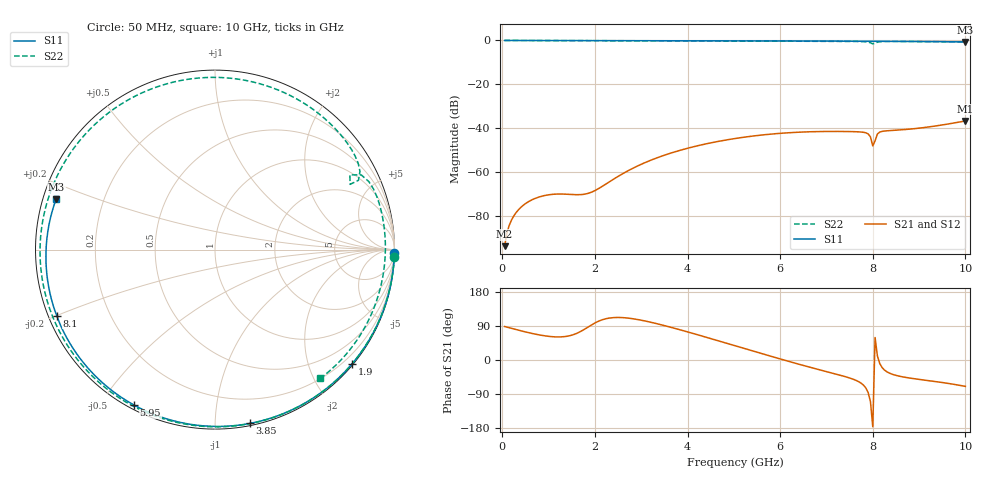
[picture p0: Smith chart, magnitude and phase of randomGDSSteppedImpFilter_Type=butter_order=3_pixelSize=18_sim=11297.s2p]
! freq	dB(S11)	phase(S11)	dB(S12)	phase(S12)
!  dB(S21)	phase(S21)	dB(S22)	phase(S22)
!S-par simulation data
#  GHz  S  DB  R 50
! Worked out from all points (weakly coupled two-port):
!   200 points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, 50 MHz to 10 GHz, reference 50 ohm
!   highest |S21| = -36.64 dB at 10 GHz (marker M1); lowest = -93.7 dB at 50 MHz (marker M2)
!   lowest |S11| = -0.6 dB at 10 GHz (marker M3), VSWR 27.08, Z = 1.89 + j7.78 ohm
!   |S11| at or under -10 dB: nowhere
!   |S22| runs from -1.6 to 0.0 dB; largest |S21 - S12| = 0
!   S11 on the Smith chart (normalised r, x): 50 MHz: open; 1.9 GHz: 0.03, -2.75; 3.85 GHz: 0.02, -1.22; 5.95 GHz: 0.02, -0.61; 8.1 GHz: 0.02, -0.20; 10 GHz: 0.04, +0.16
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0.05  -0.00 -1.1  -93.67 88.4  -93.67 88.4  -0.00 -2.3
0.25  -0.01 -5.4  -79.85 81.9  -79.85 81.9  -0.02 -11.3
0.5  -0.02 -10.7  -74.30 74.1  -74.30 74.1  -0.03 -22.5
0.85  -0.02 -18.1  -70.93 65.1  -70.93 65.1  -0.05 -38.1
1.3  -0.03 -27.5  -69.93 61.2  -69.93 61.2  -0.07 -57.6
1.75  -0.05 -36.9  -70.09 79.3  -70.09 79.3  -0.09 -76.6
1.9  -0.05 -40.0  -69.30 90.6  -69.30 90.6  -0.10 -82.8
2.6  -0.07 -54.1  -60.66 111.8  -60.66 111.8  -0.13 -110.8
3.4  -0.09 -69.9  -52.99 94.0  -52.99 94.0  -0.17 -141.7
3.85  -0.11 -78.6  -49.95 79.3  -49.95 79.3  -0.19 -158.9
4.45  -0.13 -89.9  -46.86 58.4  -46.86 58.4  -0.22 178.1
5.05  -0.16 -101.0  -44.57 36.8  -44.57 36.8  -0.26 154.4
5.95  -0.21 -117.5  -42.37 4.6  -42.37 4.6  -0.32 117.1
6.7  -0.26 -131.1  -41.54 -21.0  -41.54 -21.0  -0.37 84.3
7.3  -0.31 -142.2  -41.43 -40.3  -41.43 -40.3  -0.41 57.1
7.85  -0.36 -152.6  -42.05 -73.8  -42.05 -73.8  -0.62 31.1
7.95  -0.37 -154.5  -43.90 -109.8  -43.90 -109.8  -1.04 25.8
8  -0.38 -155.5  -48.02 -176.2  -48.02 -176.2  -1.56 25.8
8.1  -0.40 -157.3  -42.60 10.9  -42.60 10.9  -0.77 27.0
8.35  -0.42 -162.2  -41.07 -34.1  -41.07 -34.1  -0.44 13.5
9.1  -0.51 -177.6  -39.68 -52.8  -39.68 -52.8  -0.50 -17.8
10  -0.64 162.3  -36.64 -69.7  -36.64 -69.7  -0.66 -50.7
